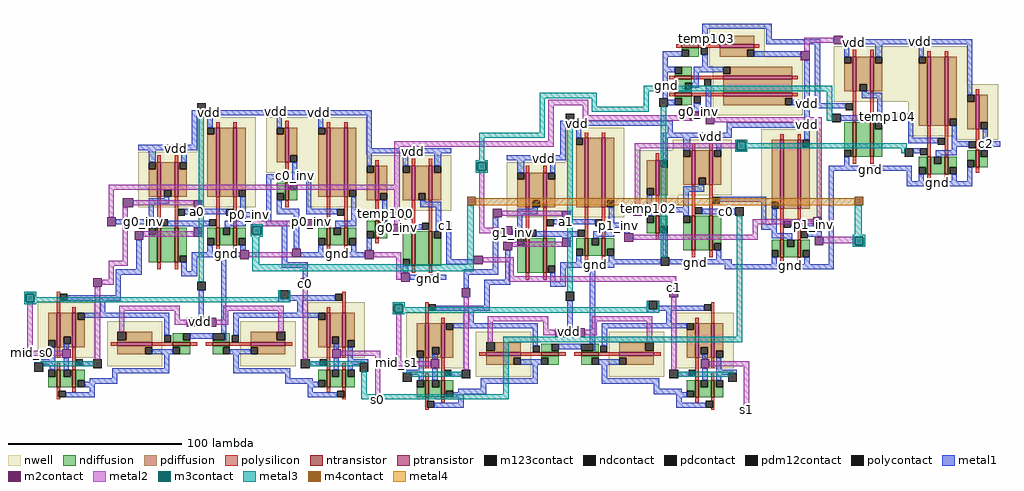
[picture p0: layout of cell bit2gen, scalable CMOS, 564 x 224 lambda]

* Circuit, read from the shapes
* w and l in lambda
.subckt bit2gen a0 a1 b0 b1 c0 c0_inv c1 c2 g0_inv g1_inv gnd mid_s0 mid_s1 p0_inv p1_inv s0 s1 temp100 temp101 temp102 temp103 temp104 vdd
M1 mid_s0 n1 a0 VSUBS nfet w=10 l=2
M2 n1 a0 mid_s0 VSUBS nfet w=10 l=2
M3 n2 b0 g0_inv VSUBS nfet w=20 l=2
M4 gnd b0 n1 VSUBS nfet w=10 l=2
M5 gnd a0 n2 VSUBS nfet w=20 l=2
M6 gnd mid_s0 n3 VSUBS nfet w=10 l=2
M7 p0_inv b0 gnd VSUBS nfet w=10 l=2
M8 gnd a0 p0_inv VSUBS nfet w=10 l=2
M9 c0_inv c0 gnd VSUBS nfet w=10 l=2
M10 s0 c0 n3 VSUBS nfet w=10 l=2
M11 n4 p0_inv gnd VSUBS nfet w=10 l=2
M12 c0 n3 s0 VSUBS nfet w=10 l=2
M13 gnd c0_inv n4 VSUBS nfet w=10 l=2
M14 temp100 n4 gnd VSUBS nfet w=10 l=2
M15 n5 temp100 gnd VSUBS nfet w=20 l=2
M16 mid_s1 n6 a1 VSUBS nfet w=10 l=2
M17 c1 g0_inv n5 VSUBS nfet w=20 l=2
M18 n6 a1 mid_s1 VSUBS nfet w=10 l=2
M19 n7 b1 g1_inv VSUBS nfet w=20 l=2
M20 gnd b1 n6 VSUBS nfet w=10 l=2
M21 gnd a1 n7 VSUBS nfet w=20 l=2
M22 gnd mid_s1 n8 VSUBS nfet w=10 l=2
M23 p1_inv b1 gnd VSUBS nfet w=10 l=2
M24 gnd a1 p1_inv VSUBS nfet w=10 l=2
M25 gnd n9 temp102 VSUBS nfet w=10 l=2
M26 n10 g0_inv gnd VSUBS nfet w=10 l=2
M27 gnd p1_inv n10 VSUBS nfet w=10 l=2
M28 temp103 n10 gnd VSUBS nfet w=10 l=2
M29 n11 c0 n9 VSUBS nfet w=20 l=2
M30 s1 c1 n8 VSUBS nfet w=10 l=2
M31 gnd temp101 n11 VSUBS nfet w=20 l=2
M32 c1 n8 s1 VSUBS nfet w=10 l=2
M33 temp101 p1_inv gnd VSUBS nfet w=10 l=2
M34 gnd p0_inv temp101 VSUBS nfet w=10 l=2
M35 n12 temp103 gnd VSUBS nfet w=20 l=2
M36 temp104 g1_inv n12 VSUBS nfet w=20 l=2
M37 n13 temp102 gnd VSUBS nfet w=10 l=2
M38 gnd temp104 n13 VSUBS nfet w=10 l=2
M39 c2 n13 gnd VSUBS nfet w=10 l=2
M40 mid_s0 b0 a0 n14 pfet w=20 l=2
M41 b0 a0 mid_s0 n14 pfet w=20 l=2
M42 vdd b0 n1 n15 pfet w=20 l=2
M43 g0_inv b0 vdd n16 pfet w=20 l=2
M44 vdd a0 g0_inv n16 pfet w=20 l=2
M45 n17 b0 vdd n16 pfet w=40 l=2
M46 p0_inv a0 n17 n16 pfet w=40 l=2
M47 vdd mid_s0 n3 n18 pfet w=20 l=2
M48 c0_inv c0 vdd n19 pfet w=20 l=2
M49 s0 c0 mid_s0 n20 pfet w=20 l=2
M50 n21 p0_inv vdd n19 pfet w=40 l=2
M51 c0 mid_s0 s0 n20 pfet w=20 l=2
M52 n4 c0_inv n21 n19 pfet w=40 l=2
M53 temp100 n4 vdd n19 pfet w=20 l=2
M54 c1 temp100 vdd n19 pfet w=20 l=2
M55 mid_s1 b1 a1 n22 pfet w=20 l=2
M56 vdd g0_inv c1 n19 pfet w=20 l=2
M57 b1 a1 mid_s1 n22 pfet w=20 l=2
M58 vdd b1 n6 n23 pfet w=20 l=2
M59 g1_inv b1 vdd n24 pfet w=20 l=2
M60 vdd a1 g1_inv n24 pfet w=20 l=2
M61 n25 b1 vdd n24 pfet w=40 l=2
M62 p1_inv a1 n25 n24 pfet w=40 l=2
M63 vdd mid_s1 n8 n26 pfet w=20 l=2
M64 vdd n9 temp102 n27 pfet w=20 l=2
M65 n9 c0 vdd n27 pfet w=20 l=2
M66 s1 c1 mid_s1 n28 pfet w=20 l=2
M67 vdd temp101 n9 n27 pfet w=20 l=2
M68 c1 mid_s1 s1 n28 pfet w=20 l=2
M69 temp103 n10 vdd n29 pfet w=20 l=2
M70 n30 g0_inv vdd n29 pfet w=40 l=2
M71 n10 p1_inv n30 n29 pfet w=40 l=2
M72 n31 p1_inv temp101 n32 pfet w=40 l=2
M73 vdd p0_inv n31 n32 pfet w=40 l=2
M74 temp104 temp103 vdd n33 pfet w=20 l=2
M75 vdd g1_inv temp104 n33 pfet w=20 l=2
M76 n34 temp102 vdd n33 pfet w=40 l=2
M77 n13 temp104 n34 n33 pfet w=40 l=2
M78 c2 n13 vdd n33 pfet w=20 l=2
.ends

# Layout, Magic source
magic
tech scmos
<< nwell >>
rect 293 -83 325 -64
rect 293 -89 347 -83
rect 295 -117 347 -89
rect 365 -99 442 -77
rect 365 -109 460 -99
rect -3 -138 31 -118
rect -37 -170 31 -138
rect 37 -140 95 -118
rect 37 -150 144 -140
rect 210 -144 244 -124
rect 272 -137 306 -131
rect 61 -170 144 -150
rect 89 -172 144 -170
rect 176 -176 244 -144
rect 250 -163 306 -137
rect 250 -169 275 -163
rect 323 -177 357 -125
rect 408 -129 460 -109
rect 436 -131 460 -129
rect -95 -257 -62 -225
rect -55 -262 -23 -236
rect 22 -262 54 -236
rect 61 -257 94 -225
rect 118 -263 151 -231
rect 158 -268 190 -242
rect 235 -268 267 -242
rect 274 -263 307 -231
<< ntransistor >>
rect 277 -78 287 -76
rect 273 -96 283 -94
rect 273 -106 283 -104
rect 48 -166 50 -156
rect -26 -202 -24 -182
rect -16 -202 -14 -182
rect 8 -192 10 -182
rect 18 -192 20 -182
rect 72 -192 74 -182
rect 82 -192 84 -182
rect 100 -188 102 -178
rect 121 -204 123 -184
rect 131 -204 133 -184
rect 376 -141 378 -121
rect 386 -141 388 -121
rect 419 -151 421 -141
rect 429 -151 431 -141
rect 447 -147 449 -137
rect 262 -185 264 -175
rect 187 -208 189 -188
rect 197 -208 199 -188
rect 221 -198 223 -188
rect 231 -198 233 -188
rect 283 -195 285 -175
rect 293 -195 295 -175
rect 334 -199 336 -189
rect 344 -199 346 -189
rect -17 -250 -7 -248
rect 6 -250 16 -248
rect 196 -256 206 -254
rect 219 -256 229 -254
rect -84 -274 -82 -264
rect -75 -274 -73 -264
rect 72 -274 74 -264
rect 81 -274 83 -264
rect 129 -280 131 -270
rect 138 -280 140 -270
rect 285 -280 287 -270
rect 294 -280 296 -270
<< ptransistor >>
rect 299 -78 319 -76
rect 301 -96 341 -94
rect 376 -103 378 -83
rect 386 -103 388 -83
rect 301 -106 341 -104
rect -26 -164 -24 -144
rect -16 -164 -14 -144
rect 8 -164 10 -124
rect 18 -164 20 -124
rect 48 -144 50 -124
rect 72 -164 74 -124
rect 82 -164 84 -124
rect 100 -166 102 -146
rect 121 -166 123 -146
rect 131 -166 133 -146
rect 187 -170 189 -150
rect 197 -170 199 -150
rect 221 -170 223 -130
rect 231 -170 233 -130
rect 262 -163 264 -143
rect 283 -157 285 -137
rect 293 -157 295 -137
rect 334 -171 336 -131
rect 344 -171 346 -131
rect 419 -123 421 -83
rect 429 -123 431 -83
rect 447 -125 449 -105
rect -84 -251 -82 -231
rect -75 -251 -73 -231
rect -49 -250 -29 -248
rect 28 -250 48 -248
rect 72 -251 74 -231
rect 81 -251 83 -231
rect 129 -257 131 -237
rect 138 -257 140 -237
rect 164 -256 184 -254
rect 241 -256 261 -254
rect 285 -257 287 -237
rect 294 -257 296 -237
<< ndiffusion >>
rect 277 -75 283 -71
rect 277 -76 287 -75
rect 277 -79 287 -78
rect 281 -83 287 -79
rect 277 -93 283 -89
rect 273 -94 283 -93
rect 273 -98 283 -96
rect 273 -102 279 -98
rect 273 -104 283 -102
rect 273 -107 283 -106
rect 277 -111 283 -107
rect 43 -162 48 -156
rect 47 -166 48 -162
rect 50 -160 51 -156
rect 50 -166 55 -160
rect -27 -186 -26 -182
rect -31 -202 -26 -186
rect -24 -202 -16 -182
rect -14 -198 -9 -182
rect 3 -188 8 -182
rect 7 -192 8 -188
rect 10 -186 12 -182
rect 16 -186 18 -182
rect 10 -192 18 -186
rect 20 -188 25 -182
rect 20 -192 21 -188
rect 67 -188 72 -182
rect 71 -192 72 -188
rect 74 -186 76 -182
rect 80 -186 82 -182
rect 74 -192 82 -186
rect 84 -188 89 -182
rect 95 -184 100 -178
rect 99 -188 100 -184
rect 102 -182 103 -178
rect 102 -188 107 -182
rect 84 -192 85 -188
rect -14 -202 -13 -198
rect 116 -200 121 -184
rect 120 -204 121 -200
rect 123 -204 131 -184
rect 133 -188 134 -184
rect 371 -137 376 -121
rect 375 -141 376 -137
rect 378 -141 386 -121
rect 388 -125 389 -121
rect 388 -141 393 -125
rect 414 -147 419 -141
rect 418 -151 419 -147
rect 421 -145 423 -141
rect 427 -145 429 -141
rect 421 -151 429 -145
rect 431 -147 436 -141
rect 442 -143 447 -137
rect 446 -147 447 -143
rect 449 -141 450 -137
rect 449 -147 454 -141
rect 431 -151 432 -147
rect 261 -179 262 -175
rect 257 -185 262 -179
rect 264 -181 269 -175
rect 264 -185 265 -181
rect 282 -179 283 -175
rect 133 -204 138 -188
rect 186 -192 187 -188
rect 182 -208 187 -192
rect 189 -208 197 -188
rect 199 -204 204 -188
rect 216 -194 221 -188
rect 220 -198 221 -194
rect 223 -192 225 -188
rect 229 -192 231 -188
rect 223 -198 231 -192
rect 233 -194 238 -188
rect 233 -198 234 -194
rect 278 -195 283 -179
rect 285 -195 293 -175
rect 295 -191 300 -175
rect 295 -195 296 -191
rect 329 -195 334 -189
rect 333 -199 334 -195
rect 336 -193 338 -189
rect 342 -193 344 -189
rect 336 -199 344 -193
rect 346 -195 351 -189
rect 346 -199 347 -195
rect 199 -208 200 -204
rect -17 -247 -11 -243
rect -17 -248 -7 -247
rect 13 -247 16 -243
rect 6 -248 16 -247
rect -17 -251 -7 -250
rect -13 -255 -7 -251
rect 6 -251 16 -250
rect 6 -255 12 -251
rect 196 -253 202 -249
rect 196 -254 206 -253
rect 226 -253 229 -249
rect 219 -254 229 -253
rect -85 -268 -84 -264
rect -89 -274 -84 -268
rect -82 -268 -80 -264
rect -76 -268 -75 -264
rect -82 -274 -75 -268
rect -73 -270 -68 -264
rect -73 -274 -72 -270
rect 67 -270 72 -264
rect 71 -274 72 -270
rect 74 -268 75 -264
rect 79 -268 81 -264
rect 74 -274 81 -268
rect 83 -268 84 -264
rect 83 -274 88 -268
rect 196 -257 206 -256
rect 200 -261 206 -257
rect 219 -257 229 -256
rect 219 -261 225 -257
rect 128 -274 129 -270
rect 124 -280 129 -274
rect 131 -274 133 -270
rect 137 -274 138 -270
rect 131 -280 138 -274
rect 140 -276 145 -270
rect 140 -280 141 -276
rect 280 -276 285 -270
rect 284 -280 285 -276
rect 287 -274 288 -270
rect 292 -274 294 -270
rect 287 -280 294 -274
rect 296 -274 297 -270
rect 296 -280 301 -274
<< pdiffusion >>
rect 303 -75 319 -71
rect 299 -76 319 -75
rect 299 -79 319 -78
rect 299 -83 315 -79
rect 375 -87 376 -83
rect 305 -93 341 -89
rect 301 -94 341 -93
rect 301 -104 341 -96
rect 371 -103 376 -87
rect 378 -99 386 -83
rect 378 -103 380 -99
rect 384 -103 386 -99
rect 388 -87 389 -83
rect 388 -103 393 -87
rect 418 -87 419 -83
rect 301 -107 341 -106
rect 301 -111 337 -107
rect 7 -128 8 -124
rect -27 -148 -26 -144
rect -31 -164 -26 -148
rect -24 -160 -16 -144
rect -24 -164 -22 -160
rect -18 -164 -16 -160
rect -14 -148 -13 -144
rect -14 -164 -9 -148
rect 3 -164 8 -128
rect 10 -164 18 -124
rect 20 -160 25 -124
rect 47 -128 48 -124
rect 43 -144 48 -128
rect 50 -140 55 -124
rect 50 -144 51 -140
rect 71 -128 72 -124
rect 20 -164 21 -160
rect 67 -164 72 -128
rect 74 -164 82 -124
rect 84 -160 89 -124
rect 220 -134 221 -130
rect 84 -164 85 -160
rect 99 -150 100 -146
rect 95 -166 100 -150
rect 102 -162 107 -146
rect 102 -166 103 -162
rect 120 -150 121 -146
rect 116 -166 121 -150
rect 123 -162 131 -146
rect 123 -166 125 -162
rect 129 -166 131 -162
rect 133 -150 134 -146
rect 133 -166 138 -150
rect 186 -154 187 -150
rect 182 -170 187 -154
rect 189 -166 197 -150
rect 189 -170 191 -166
rect 195 -170 197 -166
rect 199 -154 200 -150
rect 199 -170 204 -154
rect 216 -170 221 -134
rect 223 -170 231 -130
rect 233 -166 238 -130
rect 282 -141 283 -137
rect 257 -159 262 -143
rect 261 -163 262 -159
rect 264 -147 265 -143
rect 264 -163 269 -147
rect 278 -157 283 -141
rect 285 -153 293 -137
rect 285 -157 287 -153
rect 291 -157 293 -153
rect 295 -141 296 -137
rect 295 -157 300 -141
rect 233 -170 234 -166
rect 329 -167 334 -131
rect 333 -171 334 -167
rect 336 -171 344 -131
rect 346 -135 347 -131
rect 346 -171 351 -135
rect 414 -123 419 -87
rect 421 -123 429 -83
rect 431 -119 436 -83
rect 431 -123 432 -119
rect 446 -109 447 -105
rect 442 -125 447 -109
rect 449 -121 454 -105
rect 449 -125 450 -121
rect -89 -247 -84 -231
rect -85 -251 -84 -247
rect -82 -245 -75 -231
rect -82 -249 -80 -245
rect -76 -249 -75 -245
rect -82 -251 -75 -249
rect -73 -235 -72 -231
rect -73 -251 -68 -235
rect 71 -235 72 -231
rect -44 -247 -29 -242
rect -49 -248 -29 -247
rect 28 -247 43 -242
rect 28 -248 48 -247
rect -49 -251 -29 -250
rect -49 -255 -33 -251
rect 28 -251 48 -250
rect 67 -251 72 -235
rect 74 -245 81 -231
rect 74 -249 75 -245
rect 79 -249 81 -245
rect 74 -251 81 -249
rect 83 -247 88 -231
rect 83 -251 84 -247
rect 32 -255 48 -251
rect 124 -253 129 -237
rect 128 -257 129 -253
rect 131 -251 138 -237
rect 131 -255 133 -251
rect 137 -255 138 -251
rect 131 -257 138 -255
rect 140 -241 141 -237
rect 140 -257 145 -241
rect 284 -241 285 -237
rect 169 -253 184 -248
rect 164 -254 184 -253
rect 241 -253 256 -248
rect 241 -254 261 -253
rect 164 -257 184 -256
rect 164 -261 180 -257
rect 241 -257 261 -256
rect 280 -257 285 -241
rect 287 -251 294 -237
rect 287 -255 288 -251
rect 292 -255 294 -251
rect 287 -257 294 -255
rect 296 -253 301 -237
rect 296 -257 297 -253
rect 245 -261 261 -257
<< ndcontact >>
rect 283 -75 287 -71
rect 277 -83 281 -79
rect 273 -93 277 -89
rect 279 -102 283 -98
rect 273 -111 277 -107
rect 43 -166 47 -162
rect 51 -160 55 -156
rect -31 -186 -27 -182
rect 3 -192 7 -188
rect 12 -186 16 -182
rect 21 -192 25 -188
rect 67 -192 71 -188
rect 76 -186 80 -182
rect 95 -188 99 -184
rect 103 -182 107 -178
rect 85 -192 89 -188
rect -13 -202 -9 -198
rect 116 -204 120 -200
rect 134 -188 138 -184
rect 371 -141 375 -137
rect 389 -125 393 -121
rect 414 -151 418 -147
rect 423 -145 427 -141
rect 442 -147 446 -143
rect 450 -141 454 -137
rect 432 -151 436 -147
rect 257 -179 261 -175
rect 265 -185 269 -181
rect 278 -179 282 -175
rect 182 -192 186 -188
rect 216 -198 220 -194
rect 225 -192 229 -188
rect 234 -198 238 -194
rect 296 -195 300 -191
rect 329 -199 333 -195
rect 338 -193 342 -189
rect 347 -199 351 -195
rect 200 -208 204 -204
rect -11 -247 -7 -243
rect 6 -247 13 -243
rect -17 -255 -13 -251
rect 12 -255 16 -251
rect 202 -253 206 -249
rect 219 -253 226 -249
rect -89 -268 -85 -264
rect -80 -268 -76 -264
rect -72 -274 -68 -270
rect 67 -274 71 -270
rect 75 -268 79 -264
rect 84 -268 88 -264
rect 196 -261 200 -257
rect 225 -261 229 -257
rect 124 -274 128 -270
rect 133 -274 137 -270
rect 141 -280 145 -276
rect 280 -280 284 -276
rect 288 -274 292 -270
rect 297 -274 301 -270
<< pdcontact >>
rect 299 -75 303 -71
rect 315 -83 319 -79
rect 371 -87 375 -83
rect 301 -93 305 -89
rect 380 -103 384 -99
rect 389 -87 393 -83
rect 414 -87 418 -83
rect 337 -111 341 -107
rect 3 -128 7 -124
rect -31 -148 -27 -144
rect -22 -164 -18 -160
rect -13 -148 -9 -144
rect 43 -128 47 -124
rect 51 -144 55 -140
rect 67 -128 71 -124
rect 21 -164 25 -160
rect 216 -134 220 -130
rect 85 -164 89 -160
rect 95 -150 99 -146
rect 103 -166 107 -162
rect 116 -150 120 -146
rect 125 -166 129 -162
rect 134 -150 138 -146
rect 182 -154 186 -150
rect 191 -170 195 -166
rect 200 -154 204 -150
rect 278 -141 282 -137
rect 257 -163 261 -159
rect 265 -147 269 -143
rect 287 -157 291 -153
rect 296 -141 300 -137
rect 234 -170 238 -166
rect 329 -171 333 -167
rect 347 -135 351 -131
rect 432 -123 436 -119
rect 442 -109 446 -105
rect 450 -125 454 -121
rect -89 -251 -85 -247
rect -80 -249 -76 -245
rect -72 -235 -68 -231
rect 67 -235 71 -231
rect -33 -255 -29 -251
rect 75 -249 79 -245
rect 84 -251 88 -247
rect 28 -255 32 -251
rect 124 -257 128 -253
rect 133 -255 137 -251
rect 141 -241 145 -237
rect 280 -241 284 -237
rect 180 -261 184 -257
rect 288 -255 292 -251
rect 297 -257 301 -253
rect 241 -261 245 -257
<< polysilicon >>
rect 274 -78 277 -76
rect 287 -78 299 -76
rect 319 -78 322 -76
rect 376 -83 378 -79
rect 386 -83 388 -79
rect 419 -83 421 -80
rect 429 -83 431 -80
rect 270 -96 273 -94
rect 283 -96 301 -94
rect 341 -96 344 -94
rect 270 -106 273 -104
rect 283 -106 301 -104
rect 341 -106 344 -104
rect 8 -124 10 -121
rect 18 -124 20 -121
rect 48 -124 50 -120
rect 376 -121 378 -103
rect 386 -121 388 -103
rect 72 -124 74 -121
rect 82 -124 84 -121
rect -26 -144 -24 -140
rect -16 -144 -14 -140
rect 48 -156 50 -144
rect -26 -182 -24 -164
rect -16 -182 -14 -164
rect 8 -182 10 -164
rect 18 -182 20 -164
rect 221 -130 223 -127
rect 231 -130 233 -127
rect 100 -146 102 -143
rect 121 -146 123 -142
rect 131 -146 133 -142
rect 48 -170 50 -166
rect 72 -182 74 -164
rect 82 -182 84 -164
rect 187 -150 189 -146
rect 197 -150 199 -146
rect 100 -178 102 -166
rect 121 -184 123 -166
rect 131 -184 133 -166
rect 334 -131 336 -128
rect 344 -131 346 -128
rect 283 -137 285 -133
rect 293 -137 295 -133
rect 262 -143 264 -139
rect 100 -191 102 -188
rect 8 -195 10 -192
rect 18 -195 20 -192
rect 72 -195 74 -192
rect 82 -195 84 -192
rect -26 -206 -24 -202
rect -16 -206 -14 -202
rect 187 -188 189 -170
rect 197 -188 199 -170
rect 221 -188 223 -170
rect 231 -188 233 -170
rect 262 -175 264 -163
rect 283 -175 285 -157
rect 293 -175 295 -157
rect 447 -105 449 -102
rect 419 -141 421 -123
rect 429 -141 431 -123
rect 447 -137 449 -125
rect 376 -145 378 -141
rect 386 -145 388 -141
rect 447 -150 449 -147
rect 419 -154 421 -151
rect 429 -154 431 -151
rect 121 -208 123 -204
rect 131 -208 133 -204
rect 262 -189 264 -185
rect 334 -189 336 -171
rect 344 -189 346 -171
rect 221 -201 223 -198
rect 231 -201 233 -198
rect 283 -199 285 -195
rect 293 -199 295 -195
rect 334 -202 336 -199
rect 344 -202 346 -199
rect 187 -212 189 -208
rect 197 -212 199 -208
rect -84 -231 -82 -219
rect -75 -231 -73 -228
rect 72 -231 74 -228
rect 81 -231 83 -219
rect -53 -250 -49 -248
rect -29 -250 -17 -248
rect -7 -250 -3 -248
rect 2 -250 6 -248
rect 16 -250 28 -248
rect 48 -250 52 -248
rect -84 -257 -82 -251
rect -84 -264 -82 -260
rect -75 -264 -73 -251
rect 129 -237 131 -225
rect 138 -237 140 -234
rect 285 -237 287 -234
rect 294 -237 296 -225
rect 72 -264 74 -251
rect 81 -257 83 -251
rect 160 -256 164 -254
rect 184 -256 196 -254
rect 206 -256 210 -254
rect 215 -256 219 -254
rect 229 -256 241 -254
rect 261 -256 265 -254
rect 81 -264 83 -260
rect 129 -263 131 -257
rect 129 -270 131 -266
rect 138 -270 140 -257
rect 285 -270 287 -257
rect 294 -263 296 -257
rect 294 -270 296 -266
rect -84 -276 -82 -274
rect -84 -280 -83 -276
rect -75 -277 -73 -274
rect 72 -277 74 -274
rect 81 -276 83 -274
rect 82 -280 83 -276
rect -84 -281 -82 -280
rect 81 -281 83 -280
rect 129 -282 131 -280
rect 129 -286 130 -282
rect 138 -283 140 -280
rect 285 -283 287 -280
rect 294 -282 296 -280
rect 295 -286 296 -282
rect 129 -287 131 -286
rect 294 -287 296 -286
<< polycontact >>
rect 288 -82 292 -78
rect 290 -100 294 -96
rect 284 -110 288 -106
rect 372 -114 376 -110
rect 382 -120 386 -116
rect 44 -155 48 -151
rect -24 -181 -20 -177
rect -14 -175 -10 -171
rect 4 -181 8 -177
rect 14 -175 18 -171
rect 68 -181 72 -177
rect 78 -175 82 -171
rect 96 -177 100 -173
rect 117 -177 121 -173
rect 127 -183 131 -179
rect 189 -187 193 -183
rect 199 -181 203 -177
rect 217 -187 221 -183
rect 227 -181 231 -177
rect 264 -174 268 -170
rect 285 -174 289 -170
rect 295 -168 299 -164
rect 415 -140 419 -136
rect 425 -134 429 -130
rect 443 -136 447 -132
rect 336 -182 340 -178
rect 346 -188 350 -184
rect -82 -224 -78 -220
rect 77 -224 81 -220
rect -22 -248 -18 -244
rect 17 -248 21 -244
rect 131 -230 135 -226
rect 290 -230 294 -226
rect -73 -262 -69 -258
rect 68 -262 72 -258
rect 191 -254 195 -250
rect 230 -254 234 -250
rect 140 -268 144 -264
rect 281 -268 285 -264
rect -83 -280 -79 -276
rect 78 -280 82 -276
rect 130 -286 134 -282
rect 291 -286 295 -282
<< metal1 >>
rect 289 -67 329 -64
rect 289 -71 292 -67
rect 287 -74 299 -71
rect 326 -73 329 -67
rect 326 -76 357 -73
rect 370 -76 445 -73
rect 266 -83 277 -80
rect 266 -89 269 -83
rect 289 -89 292 -82
rect 319 -83 346 -80
rect 266 -92 273 -89
rect 266 -107 269 -92
rect 284 -92 301 -89
rect 284 -98 287 -92
rect 283 -101 287 -98
rect -6 -115 -3 -114
rect 269 -111 273 -108
rect 2 -115 98 -114
rect 284 -115 288 -110
rect -6 -117 98 -115
rect -6 -134 -3 -117
rect 3 -124 6 -117
rect 43 -124 46 -117
rect 67 -124 70 -117
rect -37 -137 -3 -134
rect 95 -136 98 -117
rect 207 -121 210 -120
rect 291 -117 294 -100
rect 348 -108 351 -85
rect 341 -111 351 -108
rect 215 -121 272 -120
rect 207 -123 272 -121
rect 348 -121 351 -111
rect 354 -110 357 -76
rect 371 -83 374 -76
rect 389 -83 393 -76
rect 414 -83 417 -76
rect 381 -104 384 -103
rect 381 -107 393 -104
rect 354 -113 372 -110
rect 390 -116 393 -107
rect 442 -105 445 -76
rect 369 -120 382 -117
rect 390 -119 411 -116
rect 390 -121 393 -119
rect -31 -144 -27 -137
rect -12 -144 -9 -137
rect 95 -139 144 -136
rect 52 -151 55 -144
rect 95 -146 98 -139
rect 116 -146 119 -139
rect 134 -146 138 -139
rect 207 -140 210 -123
rect 216 -130 219 -123
rect 269 -127 272 -123
rect 303 -124 351 -121
rect 303 -127 306 -124
rect 266 -130 306 -127
rect 176 -143 210 -140
rect 266 -143 269 -130
rect 278 -137 282 -130
rect 297 -137 300 -130
rect 348 -131 351 -124
rect 408 -130 411 -119
rect 408 -133 425 -130
rect 433 -132 436 -123
rect 451 -132 454 -125
rect 433 -135 443 -132
rect 411 -139 415 -136
rect 433 -137 436 -135
rect 451 -135 461 -132
rect 451 -137 454 -135
rect 424 -140 436 -137
rect 424 -141 427 -140
rect 182 -150 186 -143
rect 201 -150 204 -143
rect 371 -146 374 -141
rect 37 -154 44 -151
rect -22 -165 -19 -164
rect -31 -168 -19 -165
rect -31 -177 -28 -168
rect -10 -174 14 -171
rect 22 -173 25 -164
rect 22 -176 28 -173
rect -50 -180 -28 -177
rect -31 -182 -28 -180
rect -20 -181 4 -178
rect 22 -178 25 -176
rect 13 -181 25 -178
rect 37 -178 40 -154
rect 52 -154 63 -151
rect 362 -149 410 -146
rect 52 -156 55 -154
rect 43 -171 46 -166
rect 60 -171 63 -154
rect 287 -158 290 -157
rect 43 -174 56 -171
rect 60 -174 78 -171
rect 37 -181 49 -178
rect -5 -182 0 -181
rect 13 -182 16 -181
rect -38 -206 -35 -189
rect 3 -196 6 -192
rect 22 -195 25 -192
rect -50 -209 -35 -206
rect -12 -207 -9 -202
rect -6 -199 22 -196
rect -6 -207 -3 -199
rect -50 -221 -47 -209
rect -12 -210 -3 -207
rect -78 -224 -47 -221
rect -59 -231 -56 -224
rect -68 -234 -19 -231
rect -2 -234 1 -218
rect -88 -258 -85 -251
rect -22 -244 -19 -234
rect -4 -238 3 -234
rect 11 -243 14 -199
rect 46 -202 49 -181
rect 53 -194 56 -174
rect 86 -173 89 -164
rect 278 -161 290 -158
rect 104 -173 107 -166
rect 126 -167 129 -166
rect 126 -170 138 -167
rect 86 -176 96 -173
rect 65 -180 68 -177
rect 86 -178 89 -176
rect 104 -176 117 -173
rect 104 -178 107 -176
rect 77 -181 89 -178
rect 77 -182 80 -181
rect 135 -179 138 -170
rect 257 -170 260 -163
rect 278 -170 281 -161
rect 299 -167 326 -164
rect 191 -171 194 -170
rect 182 -174 194 -171
rect 115 -183 127 -180
rect 135 -182 144 -179
rect 135 -184 138 -182
rect 67 -196 70 -192
rect 86 -196 89 -192
rect 95 -195 98 -188
rect 57 -199 94 -196
rect 141 -200 144 -182
rect 46 -205 61 -202
rect 58 -211 61 -205
rect 141 -203 157 -200
rect 116 -208 119 -204
rect 168 -206 171 -176
rect 182 -183 185 -174
rect 203 -180 227 -177
rect 235 -179 238 -170
rect 254 -173 260 -170
rect 257 -175 260 -173
rect 268 -173 281 -170
rect 278 -175 281 -173
rect 289 -174 308 -171
rect 235 -182 247 -179
rect 323 -180 326 -167
rect 329 -180 332 -171
rect 179 -186 185 -183
rect 182 -188 185 -186
rect 193 -187 217 -184
rect 235 -184 238 -182
rect 226 -187 238 -184
rect 244 -185 247 -182
rect 323 -183 332 -180
rect 340 -181 353 -178
rect 208 -188 213 -187
rect 226 -188 229 -187
rect 151 -209 171 -206
rect 120 -212 141 -209
rect 151 -217 154 -209
rect 175 -212 178 -195
rect 216 -202 219 -198
rect 235 -200 238 -198
rect 266 -199 269 -185
rect 329 -185 332 -183
rect 329 -188 341 -185
rect 350 -187 358 -184
rect 338 -189 341 -188
rect 235 -202 265 -200
rect 207 -203 265 -202
rect 163 -215 178 -212
rect 201 -213 204 -208
rect 207 -205 238 -203
rect 297 -200 300 -195
rect 270 -203 306 -200
rect 329 -203 332 -199
rect 348 -203 351 -199
rect 362 -203 365 -149
rect 407 -155 410 -149
rect 414 -155 417 -151
rect 433 -155 436 -151
rect 442 -155 445 -147
rect 407 -158 445 -155
rect 207 -213 210 -205
rect 44 -223 45 -218
rect 50 -221 51 -218
rect 50 -223 77 -221
rect 44 -224 77 -223
rect 44 -225 51 -224
rect 55 -231 58 -224
rect 163 -227 166 -215
rect 201 -216 210 -213
rect 135 -230 166 -227
rect -7 -246 6 -243
rect 13 -247 14 -243
rect 18 -234 67 -231
rect 18 -244 21 -234
rect 154 -237 157 -230
rect 145 -240 194 -237
rect 211 -240 214 -224
rect -80 -252 -77 -249
rect -29 -255 -17 -252
rect 16 -255 28 -252
rect 76 -252 79 -249
rect -97 -260 -85 -258
rect -92 -261 -85 -260
rect -88 -264 -85 -261
rect -80 -264 -77 -257
rect -69 -262 -63 -259
rect -22 -263 -19 -255
rect -52 -266 -19 -263
rect 18 -263 21 -255
rect 62 -262 68 -259
rect 18 -266 51 -263
rect 76 -264 79 -257
rect -52 -269 -49 -266
rect -65 -271 -49 -269
rect -68 -272 -49 -271
rect 48 -269 51 -266
rect 84 -258 87 -251
rect 84 -260 96 -258
rect 84 -261 91 -260
rect 84 -264 87 -261
rect 125 -264 128 -257
rect 191 -250 194 -240
rect 209 -244 216 -240
rect 224 -249 227 -205
rect 302 -206 365 -203
rect 271 -217 274 -215
rect 257 -229 258 -224
rect 263 -227 264 -224
rect 263 -229 290 -227
rect 257 -230 290 -229
rect 257 -231 264 -230
rect 268 -237 271 -230
rect 206 -252 219 -249
rect 226 -253 227 -249
rect 231 -240 280 -237
rect 231 -250 234 -240
rect 133 -258 136 -255
rect 184 -261 196 -258
rect 229 -261 241 -258
rect 289 -258 292 -255
rect 116 -266 128 -264
rect 48 -271 64 -269
rect 48 -272 67 -271
rect -68 -274 -62 -272
rect -65 -277 -62 -274
rect -79 -280 -62 -277
rect 61 -274 67 -272
rect 121 -267 128 -266
rect 125 -270 128 -267
rect 133 -270 136 -263
rect 144 -268 150 -265
rect 191 -269 194 -261
rect 161 -272 194 -269
rect 231 -269 234 -261
rect 275 -268 281 -265
rect 231 -272 264 -269
rect 289 -270 292 -263
rect 61 -277 64 -274
rect 161 -275 164 -272
rect 61 -280 78 -277
rect 148 -277 164 -275
rect 145 -278 164 -277
rect 261 -275 264 -272
rect 297 -264 300 -257
rect 297 -266 309 -264
rect 297 -267 304 -266
rect 297 -270 300 -267
rect 261 -277 277 -275
rect 261 -278 280 -277
rect 145 -280 151 -278
rect 148 -283 151 -280
rect 134 -286 151 -283
rect 274 -280 280 -278
rect 274 -283 277 -280
rect 274 -286 291 -283
<< m2contact >>
rect 365 -76 370 -71
rect 346 -85 351 -80
rect 282 -120 287 -115
rect 291 -122 296 -117
rect -46 -170 -40 -165
rect -55 -181 -50 -176
rect -5 -171 0 -166
rect 28 -177 33 -172
rect -39 -189 -34 -184
rect -5 -187 0 -182
rect -63 -216 -58 -211
rect -9 -239 -4 -234
rect 3 -239 8 -234
rect 22 -200 27 -195
rect 60 -182 65 -177
rect 168 -176 173 -171
rect 110 -185 115 -180
rect 52 -199 57 -194
rect 94 -200 99 -195
rect 157 -203 162 -198
rect 174 -186 179 -181
rect 208 -177 213 -172
rect 249 -175 254 -170
rect 353 -181 358 -176
rect 174 -195 179 -190
rect 208 -193 213 -188
rect 244 -190 249 -185
rect 57 -216 62 -211
rect 115 -213 120 -208
rect 354 -192 359 -187
rect 150 -222 155 -217
rect -81 -257 -76 -252
rect 75 -257 80 -252
rect 204 -245 209 -240
rect 216 -245 221 -240
rect 270 -222 275 -217
rect 132 -263 137 -258
rect 288 -263 293 -258
<< pdm12contact >>
rect -49 -247 -44 -242
rect 43 -247 48 -242
rect 164 -253 169 -248
rect 256 -253 261 -248
<< metal2 >>
rect 348 -75 365 -72
rect 348 -80 351 -75
rect 200 -111 223 -108
rect 200 -132 203 -111
rect 220 -117 223 -111
rect 220 -120 282 -117
rect 296 -121 358 -118
rect 111 -135 203 -132
rect 111 -157 114 -135
rect 250 -136 309 -133
rect -54 -160 114 -157
rect -54 -176 -51 -160
rect -40 -169 -5 -166
rect -46 -201 -43 -170
rect 29 -178 33 -177
rect 29 -181 60 -178
rect -34 -187 -5 -184
rect 111 -180 114 -160
rect 160 -182 163 -149
rect 250 -170 253 -136
rect 173 -175 208 -172
rect 355 -176 358 -121
rect 318 -180 353 -177
rect 160 -185 174 -182
rect 27 -199 52 -196
rect 179 -193 208 -190
rect 318 -186 321 -180
rect 249 -189 321 -186
rect 359 -191 377 -187
rect 99 -199 115 -196
rect -54 -204 -43 -201
rect -54 -212 -51 -204
rect -58 -215 -51 -212
rect -101 -253 -98 -225
rect -101 -256 -81 -253
rect -62 -258 -59 -216
rect 112 -212 115 -199
rect 162 -202 180 -199
rect 177 -210 180 -202
rect 177 -213 274 -210
rect -48 -230 -13 -227
rect -48 -242 -45 -230
rect -16 -235 -13 -230
rect 12 -230 47 -227
rect -16 -238 -9 -235
rect 12 -235 15 -230
rect 8 -238 15 -235
rect 44 -242 47 -230
rect 58 -258 61 -216
rect 271 -217 274 -213
rect 80 -256 103 -253
rect 100 -282 103 -256
rect 112 -259 115 -231
rect 112 -262 132 -259
rect 151 -264 154 -222
rect 165 -236 200 -233
rect 165 -248 168 -236
rect 197 -241 200 -236
rect 225 -236 260 -233
rect 197 -244 204 -241
rect 225 -241 228 -236
rect 221 -244 228 -241
rect 257 -248 260 -236
rect 271 -264 274 -222
rect 293 -262 316 -259
rect 313 -288 316 -262
<< m3contact >>
rect 159 -149 164 -144
rect 29 -186 34 -181
rect 309 -137 314 -132
rect 377 -192 382 -187
rect -102 -225 -97 -220
rect 111 -231 116 -226
<< m123contact >>
rect -3 -115 2 -110
rect 210 -121 215 -116
rect 264 -112 269 -107
rect 364 -121 369 -116
rect 308 -175 313 -170
rect 406 -141 411 -136
rect -3 -218 2 -213
rect 265 -204 270 -199
rect 45 -223 50 -218
rect -97 -265 -92 -260
rect -63 -263 -58 -258
rect 57 -263 62 -258
rect 91 -265 96 -260
rect 210 -224 215 -219
rect 258 -229 263 -224
rect 116 -271 121 -266
rect 150 -269 155 -264
rect 270 -269 275 -264
rect 304 -271 309 -266
<< metal3 >>
rect 255 -103 364 -100
rect 195 -107 228 -104
rect -2 -213 1 -115
rect 195 -127 198 -107
rect 225 -112 228 -107
rect 255 -112 258 -103
rect 225 -115 258 -112
rect 160 -130 198 -127
rect 160 -143 163 -130
rect 158 -144 165 -143
rect 158 -149 159 -144
rect 164 -149 165 -144
rect 158 -150 165 -149
rect 28 -181 35 -180
rect 28 -186 29 -181
rect 34 -186 35 -181
rect 28 -187 35 -186
rect 29 -203 33 -187
rect 153 -203 157 -169
rect 29 -207 157 -203
rect -103 -220 -96 -219
rect -103 -225 -102 -220
rect -97 -222 -96 -220
rect 44 -222 45 -218
rect -97 -223 45 -222
rect 50 -223 51 -218
rect 211 -219 214 -121
rect 265 -199 268 -112
rect 361 -120 364 -103
rect 308 -132 315 -131
rect 308 -137 309 -132
rect 314 -133 315 -132
rect 314 -136 407 -133
rect 314 -137 315 -136
rect 308 -138 315 -137
rect 404 -139 406 -136
rect -97 -225 51 -223
rect -103 -226 -96 -225
rect 110 -226 117 -225
rect 110 -231 111 -226
rect 116 -228 117 -226
rect 257 -228 258 -224
rect 116 -229 258 -228
rect 263 -229 264 -224
rect 116 -231 264 -229
rect 110 -232 117 -231
rect 309 -245 312 -175
rect 377 -186 381 -169
rect 376 -187 383 -186
rect 376 -192 377 -187
rect 382 -192 383 -187
rect 376 -193 383 -192
rect 174 -248 312 -245
rect -95 -260 -63 -259
rect -92 -262 -63 -260
rect 62 -260 94 -259
rect 62 -262 91 -260
rect 92 -278 95 -265
rect 118 -266 150 -265
rect 121 -268 150 -266
rect 174 -278 177 -248
rect 275 -266 307 -265
rect 275 -268 304 -266
rect 92 -281 177 -278
<< m4contact >>
rect 153 -169 158 -164
rect 377 -169 382 -164
<< metal4 >>
rect 158 -169 377 -165
<< labels >>
rlabel metal1 -1 -236 -1 -236 3 vdd
rlabel metal1 -1 -244 -1 -244 3 gnd
rlabel metal1 -15 -136 -15 -136 5 vdd
rlabel metal1 14 -197 14 -197 1 gnd
rlabel metal1 4 -116 4 -115 5 vdd
rlabel metal1 138 -182 144 -179 7 c1
rlabel metal1 131 -211 131 -211 1 gnd
rlabel metal1 122 -138 122 -138 5 vdd
rlabel m2contact 61 -179 65 -178 1 p0_inv
rlabel metal1 105 -175 107 -172 1 temp100
rlabel metal1 68 -116 68 -115 5 vdd
rlabel metal1 78 -197 78 -197 1 gnd
rlabel metal1 53 -153 55 -150 1 c0_inv
rlabel metal1 38 -154 40 -152 3 c0
rlabel metal1 44 -173 44 -173 1 gnd
rlabel metal1 43 -115 43 -115 5 vdd
rlabel m2contact 59 -214 60 -214 1 c0
rlabel metal2 101 -282 102 -280 1 s0
rlabel metal2 -100 -255 -96 -253 3 mid_s0
rlabel metal1 -8 -174 3 -171 1 a0
rlabel metal1 -8 -181 3 -178 1 b0
rlabel metal1 -37 -180 -31 -177 1 g0_inv
rlabel metal1 25 -176 30 -173 1 p0_inv
rlabel m2contact 111 -183 115 -181 1 g0_inv
rlabel metal1 212 -242 212 -242 3 vdd
rlabel metal1 212 -250 212 -250 3 gnd
rlabel metal1 198 -142 198 -142 5 vdd
rlabel metal1 227 -203 227 -203 1 gnd
rlabel metal1 217 -122 217 -121 5 vdd
rlabel metal2 113 -260 113 -260 1 mid_s1
rlabel metal2 314 -288 315 -286 8 s1
rlabel metal1 176 -186 182 -183 1 g1_inv
rlabel metal1 238 -182 243 -179 1 p1_inv
rlabel metal1 205 -180 216 -177 1 a1
rlabel metal1 205 -187 216 -184 1 b1
rlabel metal1 272 -218 274 -215 1 c1
rlabel metal1 350 -123 350 -122 5 vdd
rlabel metal1 340 -204 340 -204 1 gnd
rlabel metal1 351 -181 355 -179 7 p1_inv
rlabel metal1 352 -187 357 -185 7 p0_inv
rlabel metal1 324 -183 328 -181 3 temp101
rlabel metal1 294 -129 294 -129 5 vdd
rlabel metal1 285 -202 285 -202 1 gnd
rlabel metal1 301 -173 305 -172 1 c0
rlabel metal1 257 -172 259 -170 1 temp102
rlabel metal1 268 -100 268 -100 3 gnd
rlabel metal1 349 -110 350 -110 7 vdd
rlabel space 285 -116 288 -113 1 g0_inv
rlabel metal1 290 -74 293 -71 1 temp103
rlabel metal1 377 -75 377 -75 5 vdd
rlabel metal1 386 -148 386 -148 1 gnd
rlabel metal1 393 -119 399 -116 7 temp104
rlabel metal1 415 -75 415 -74 5 vdd
rlabel metal1 425 -156 425 -156 1 gnd
rlabel metal1 452 -134 454 -132 1 c2
rlabel m123contact 365 -119 365 -119 1 g1_inv
<< end >>
